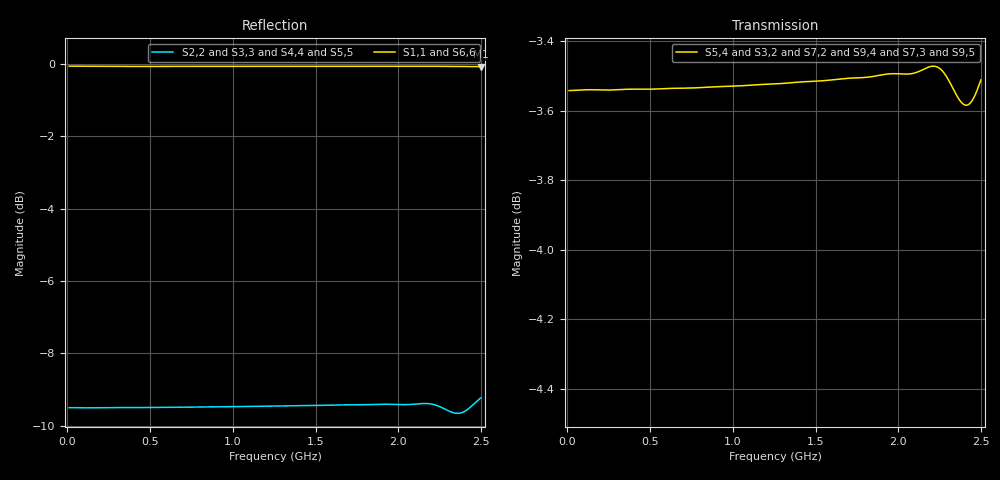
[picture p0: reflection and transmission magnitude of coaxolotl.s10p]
! openEMS-z2labs kicad_sim, coaxolotl.kicad_pcb
! ports: 1=C701 (F.Cu over In1.Cu), 2=C701 (F.Cu over In1.Cu), 3=C702 (F.Cu over In1.Cu), 4=C702 (F.Cu over In1.Cu), 5=C703 (F.Cu over In1.Cu), 6=C703 (F.Cu over In1.Cu), 7=L701 (F.Cu over In1.Cu), 8=L701 (F.Cu over In1.Cu), 9=L702 (F.Cu over In1.Cu), 10=L702 (F.Cu over In1.Cu)
! stackup: fab:JLCPCB:JLC04161H-7628
! copper: sheet, mask: False
# Hz S RI R 50
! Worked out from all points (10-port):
!   601 points, 10 MHz to 2.5 GHz, reference 50 ohm
!   strongest paths, dB at 10 MHz, 632.5 MHz, 1.255 GHz, 1.877 GHz, 2.5 GHz:
!     S5,4: -3.5, -3.5, -3.5, -3.5, -3.5
!     S3,2: -3.5, -3.5, -3.5, -3.5, -3.5
!     S7,2: -3.5, -3.5, -3.6, -3.6, -3.7
!     S9,4: -3.5, -3.5, -3.6, -3.6, -3.7
!     S7,3: -3.5, -3.5, -3.6, -3.6, -3.6
!     S9,5: -3.5, -3.5, -3.6, -3.6, -3.6
!   lowest |S11| = -0.1 dB at 2.5 GHz (marker M1), VSWR 228.90, Z = 1.23 - j108 ohm
!   |S11| at or under -10 dB: nowhere
